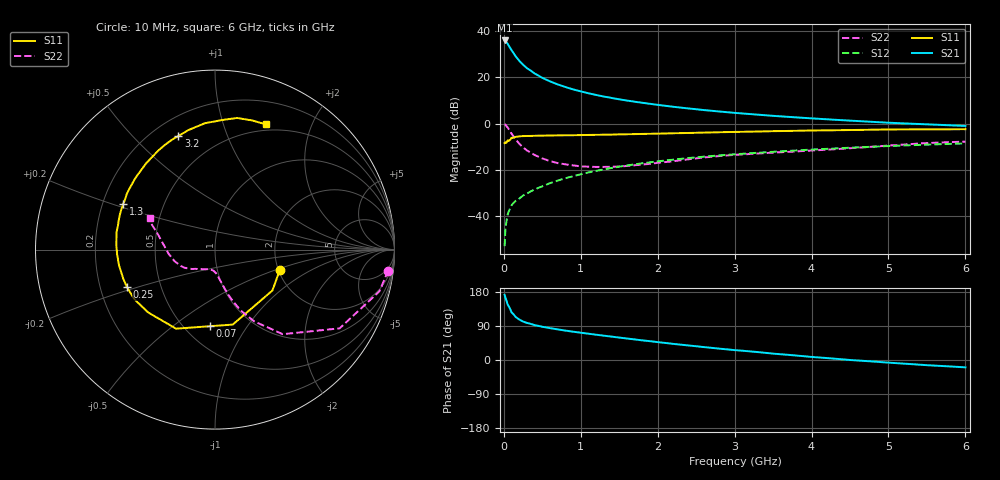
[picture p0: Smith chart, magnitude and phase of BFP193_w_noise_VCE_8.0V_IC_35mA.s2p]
! Infineon Technologies  Discrete & RF Semiconductors
! BFP193
! VCE =  8.0 V,  IC =  35 mA
! Common Emitter S-Parameters:  Jan 2017
# GHz  S  MA  R  50
!  f  S11  S21  S12  S22
! GHz  MAG  ANG  MAG  ANG  MAG  ANG  MAG  ANG
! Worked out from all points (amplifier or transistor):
!   77 points, 10 MHz to 6 GHz, reference 50 ohm
!   highest |S21| = 36.0 dB at 10 MHz (marker M1)
!   |S21| within 3 dB of that: start of sweep to 77.57 MHz
!   unconditionally stable (mu >= 1): 702.4 MHz to 2.427 GHz
!   at 130 MHz: K = 0.50, MSG = 32.3 dB, |S12| = -34.3 dB
!   at 2.2 GHz: K = 1.01, MAG = 10.8 dB, |S12| = -15.7 dB
!   at 6 GHz: K = 0.91, MSG = 3.8 dB, |S12| = -8.6 dB
!   lowest NFmin = 1.29 dB at 450 MHz
!   S11 on the Smith chart (normalised r, x): 10 MHz: 2.03, -0.55; 70 MHz: 0.66, -0.69; 250 MHz: 0.32, -0.18; 1.3 GHz: 0.29, +0.22; 3.2 GHz: 0.30, +0.69; 6 GHz: 0.43, +1.39
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0.01  0.3786 -17.7  62.97 171.9  0.0022 81.4  0.972 -6.9
0.02  0.3927 -35.5  62.33 164.9  0.0049 85.4  0.9453 -14.2
0.05  0.4293 -76.7  53.17 146.1  0.0107 68.7  0.8214 -32.3
0.07  0.4277 -93.7  46.8 139.5  0.0131 63.5  0.7255 -38.5
0.1  0.4909 -116.2  38.86 125.8  0.0169 58.5  0.6038 -51.3
0.15  0.511 -136.6  29.04 114.2  0.0209 56.0  0.4565 -61.3
0.2  0.5275 -148.3  22.89 106.9  0.0236 57.2  0.366 -67.3
0.25  0.5331 -156.9  18.77 101.5  0.0275 57.5  0.3041 -70.8
0.3  0.5364 -162.5  15.84 97.9  0.0304 59.1  0.2611 -73.7
0.4  0.5421 -170.9  12.11 92.0  0.0372 62.2  0.2074 -77.3
0.5  0.5459 -177.2  9.747 87.7  0.0436 63.7  0.1752 -80.4
0.6  0.55 177.8  8.182 84.0  0.051 64.0  0.1533 -83.1
0.7  0.5526 173.7  7.028 80.8  0.0579 65.4  0.1386 -85.3
0.9  0.5567 166.3  5.484 74.7  0.0723 65.2  0.1238 -91.0
1.1  0.565 159.5  4.522 69.4  0.0869 64.6  0.116 -97.0
1.3  0.5714 153.3  3.839 64.2  0.1009 62.8  0.1148 -103.6
2.1  0.6082 131.2  2.418 45.0  0.158 54.5  0.1461 -132.2
3.1  0.6609 109.6  1.65 24.5  0.2209 42.7  0.2138 -156.0
3.2  0.6653 107.8  1.601 22.7  0.2266 41.6  0.2185 -158.1
4.1  0.7084 93.1  1.263 6.6  0.2774 31.4  0.2652 -177.5
5.1  0.7439 79.2  1.023 -8.3  0.3292 20.0  0.341 163.2
6  0.7527 68.0  0.885 -19.4  0.3707 10.1  0.4058 153.9
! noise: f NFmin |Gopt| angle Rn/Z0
0.45  1.29  0.37  -172  0.08
0.9  1.35  0.4  -169  0.08
1.9  1.95  0.58  -135  0.18
2.4  2.29  0.62  -120  0.4
